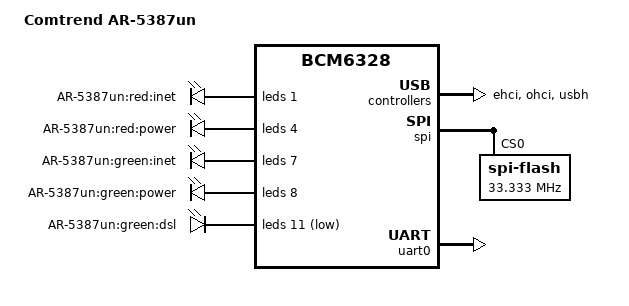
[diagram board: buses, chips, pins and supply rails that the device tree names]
// SPDX-License-Identifier: GPL-2.0+
/*
 * Copyright (C) 2017 Álvaro Fernández Rojas <noltari@gmail.com>
 */

/dts-v1/;

#include "brcm,bcm6328.dtsi"

/ {
	model = "Comtrend AR-5387un";
	compatible = "comtrend,ar5387-un", "brcm,bcm6328";

	aliases {
		serial0 = &uart0;
	};

	chosen {
		stdout-path = "serial0:115200n8";
	};
};

&ehci {
	status = "okay";
};

&leds {
	status = "okay";

	led@1 {
		reg = <1>;
		label = "AR-5387un:red:inet";
	};

	led@4 {
		reg = <4>;
		label = "AR-5387un:red:power";
	};

	led@7 {
		reg = <7>;
		label = "AR-5387un:green:inet";
	};

	led@8 {
		reg = <8>;
		label = "AR-5387un:green:power";
	};

	led@11 {
		reg = <11>;
		active-low;
		label = "AR-5387un:green:dsl";
	};
};

&ohci {
	status = "okay";
};

&spi {
	status = "okay";

	spi-flash@0 {
		compatible = "spi-flash";
		reg = <0>;
		#address-cells = <1>;
		#size-cells = <1>;
		spi-max-frequency = <33333334>;
	};
};

&uart0 {
	u-boot,dm-pre-reloc;
	status = "okay";
};

&usbh {
	status = "okay";
};
